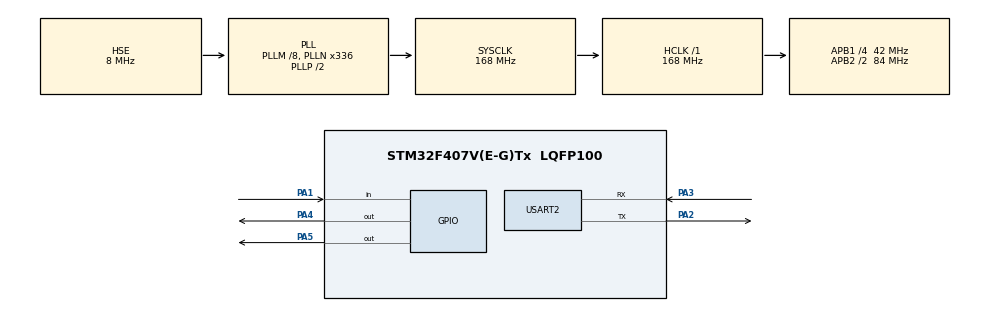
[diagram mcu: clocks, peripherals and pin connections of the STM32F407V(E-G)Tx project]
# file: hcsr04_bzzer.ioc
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Mcu.Family=STM32F4
Mcu.Name=STM32F407V(E-G)Tx
Mcu.Package=LQFP100
NVIC.PriorityGroup=NVIC_PRIORITYGROUP_0
PA1.Signal=GPIO_Input
PA13.Mode=Serial_Wire
PA13.Signal=SYS_JTMS-SWDIO
PA14.Mode=Serial_Wire
PA14.Signal=SYS_JTCK-SWCLK
PA2.Mode=Asynchronous
PA2.Signal=USART2_TX
PA3.Mode=Asynchronous
PA3.Signal=USART2_RX
PA4.Signal=GPIO_Output
PA5.Signal=GPIO_Output
PH0-OSC_IN.Mode=HSE-External-Oscillator
PH0-OSC_IN.Signal=RCC_OSC_IN
PH1-OSC_OUT.Mode=HSE-External-Oscillator
PH1-OSC_OUT.Signal=RCC_OSC_OUT
ProjectManager.HeapSize=0x200
ProjectManager.StackSize=0x400
ProjectManager.TargetToolchain=STM32CubeIDE
RCC.48MHZClocksFreq_Value=48000000
RCC.AHBFreq_Value=168000000
RCC.APB1CLKDivider=RCC_HCLK_DIV4
RCC.APB1Freq_Value=42000000
RCC.APB1TimFreq_Value=84000000
RCC.APB2CLKDivider=RCC_HCLK_DIV2
RCC.APB2Freq_Value=84000000
RCC.APB2TimFreq_Value=168000000
RCC.CortexFreq_Value=168000000
RCC.HCLKFreq_Value=168000000
RCC.HSE_VALUE=8000000
RCC.HSI_VALUE=16000000
RCC.LSE_VALUE=32768
RCC.PLLM=8
RCC.PLLN=336
RCC.PLLQ=7
RCC.PLLSourceVirtual=RCC_PLLSOURCE_HSE
RCC.SYSCLKFreq_VALUE=168000000
RCC.SYSCLKSource=RCC_SYSCLKSOURCE_PLLCLK
RCC.VCOOutputFreq_Value=336000000
USART2.VirtualMode=VM_ASYNC
board=STM32F407G-DISC1

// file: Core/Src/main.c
/* USER CODE BEGIN Header */
/**
  ******************************************************************************
  * @file           : main.c
  * @brief          : Main program body
  ******************************************************************************
  * @attention
  *
  * Copyright (c) 2023 STMicroelectronics.
  * All rights reserved.
  *
  * This software is licensed under terms that can be found in the LICENSE file
  * in the root directory of this software component.
  * If no LICENSE file comes with this software, it is provided AS-IS.
  *
  ******************************************************************************
  */
/* USER CODE END Header */
#include "main.h"
#include "stdio.h"

UART_HandleTypeDef huart2;

/* USER CODE BEGIN PV */
uint16_t distance=0;
char yazi[30];
char uyari[40]=" Alarm ötüyor hedefe çok yaklaştın";
char uyari2[30]="susturmak icin 0 a bas\n";
char uyari3[30]="GERİYE DOĞRU GİTMELİSİN\n";
char uyari4[30]="UYGUN PARK MESAFESİ\n";
char uyari5[30]="HATALI PARK MESAFESİ!!\n";
char receivedata[1];

/* USER CODE END PV */

void SystemClock_Config(void);
static void MX_GPIO_Init(void);
static void MX_USART2_UART_Init(void);

/* USER CODE BEGIN 0 */
void delayUS(uint32_t time){
	uint32_t newtime=time*168;
	while(newtime--);
}
float hcsrRead(){
	uint32_t time=0;
	float tempDistance=0;
	HAL_GPIO_WritePin(GPIOA, GPIO_PIN_5,GPIO_PIN_RESET);
	delayUS(10);
	HAL_GPIO_WritePin(GPIOA, GPIO_PIN_5,GPIO_PIN_SET);
	delayUS(10);
	HAL_GPIO_WritePin(GPIOA, GPIO_PIN_5,GPIO_PIN_RESET);
	delayUS(10);
	while(!(HAL_GPIO_ReadPin(GPIOA, GPIO_PIN_1)));
	while(HAL_GPIO_ReadPin(GPIOA, GPIO_PIN_1)){

		time++;
		delayUS(1);
	}
	tempDistance=(float) time/58 ;
	//tempDistance=tempDistance*4;
	if(tempDistance>400)tempDistance=400;
	//if(tempDistance<2)tempDistance=2;
	return tempDistance;

}

/* USER CODE END 0 */

int main(void)
{

  /* MCU Configuration--------------------------------------------------------*/

  /* Reset of all peripherals, Initializes the Flash interface and the Systick. */
  HAL_Init();

  /* Configure the system clock */
  SystemClock_Config();

  /* Initialize all configured peripherals */
  MX_GPIO_Init();
  MX_USART2_UART_Init();

  /* Infinite loop */
  while (1)
  {

    /* USER CODE BEGIN 3 */
	  distance=(uint16_t)hcsrRead();
	  sprintf(yazi,"Olculen mesafe degeri: %d \n",distance);
	  HAL_UART_Transmit(&huart2, (uint8_t*)yazi,sizeof(yazi),100);
	  //HAL_GPIO_WritePin(GPIOA, GPIO_PIN_4, GPIO_PIN_RESET);
      HAL_Delay(600);

	  if(distance>7 && distance<=15){
		  HAL_UART_Transmit(&huart2, (uint8_t*)uyari,sizeof(uyari),100);
		  HAL_UART_Transmit(&huart2, (uint8_t*)uyari2,sizeof(uyari2),100);
		  HAL_UART_Transmit(&huart2, (uint8_t*)uyari3,sizeof(uyari3),100);

		  HAL_GPIO_WritePin(GPIOA, GPIO_PIN_4, GPIO_PIN_SET);
		  HAL_Delay(900);
		  HAL_UART_Receive(&huart2,(uint8_t*)&receivedata[0],sizeof(receivedata),100);
		  if(receivedata[0]=='0'){
			  HAL_GPIO_WritePin(GPIOA, GPIO_PIN_4, GPIO_PIN_RESET);
		      HAL_Delay(6000);
			  receivedata[0]=1;

		  }
	  }
	  if(distance>=3 && distance<=7){
		  HAL_UART_Transmit(&huart2, (uint8_t*)uyari,sizeof(uyari),100);
		  HAL_UART_Transmit(&huart2, (uint8_t*)uyari2,sizeof(uyari2),100);
		  HAL_UART_Transmit(&huart2, (uint8_t*)uyari4,sizeof(uyari4),100);

		  HAL_GPIO_WritePin(GPIOA, GPIO_PIN_4, GPIO_PIN_SET);
		  HAL_Delay(300);
		  HAL_UART_Receive(&huart2,(uint8_t*)&receivedata[0],sizeof(receivedata),100);
		  if(receivedata[0]=='0'){
			  HAL_GPIO_WritePin(GPIOA, GPIO_PIN_4, GPIO_PIN_RESET);
		      HAL_Delay(6000);
			  receivedata[0]=1;

		  }
	  }
	  if(distance<=2){
		  HAL_UART_Transmit(&huart2, (uint8_t*)uyari,sizeof(uyari),100);
		  HAL_UART_Transmit(&huart2, (uint8_t*)uyari2,sizeof(uyari2),100);
		  HAL_UART_Transmit(&huart2, (uint8_t*)uyari5,sizeof(uyari5),100);

		  HAL_GPIO_WritePin(GPIOA, GPIO_PIN_4, GPIO_PIN_SET);
		  //HAL_Delay(1);
		  HAL_UART_Receive(&huart2,(uint8_t*)&receivedata[0],sizeof(receivedata),100);
		  if(receivedata[0]=='0'){
			  HAL_GPIO_WritePin(GPIOA, GPIO_PIN_4, GPIO_PIN_RESET);
		      HAL_Delay(6000);
			  receivedata[0]=1;

		  }
	  }

	  else{
		  HAL_GPIO_WritePin(GPIOA, GPIO_PIN_4, GPIO_PIN_RESET);
	  }

  }
  /* USER CODE END 3 */
}

void SystemClock_Config(void)
{
  RCC_OscInitTypeDef RCC_OscInitStruct = {0};
  RCC_ClkInitTypeDef RCC_ClkInitStruct = {0};

  /** Configure the main internal regulator output voltage
  */
  __HAL_RCC_PWR_CLK_ENABLE();
  __HAL_PWR_VOLTAGESCALING_CONFIG(PWR_REGULATOR_VOLTAGE_SCALE1);

  /** Initializes the RCC Oscillators according to the specified parameters
  * in the RCC_OscInitTypeDef structure.
  */
  RCC_OscInitStruct.OscillatorType = RCC_OSCILLATORTYPE_HSE;
  RCC_OscInitStruct.HSEState = RCC_HSE_ON;
  RCC_OscInitStruct.PLL.PLLState = RCC_PLL_ON;
  RCC_OscInitStruct.PLL.PLLSource = RCC_PLLSOURCE_HSE;
  RCC_OscInitStruct.PLL.PLLM = 8;
  RCC_OscInitStruct.PLL.PLLN = 336;
  RCC_OscInitStruct.PLL.PLLP = RCC_PLLP_DIV2;
  RCC_OscInitStruct.PLL.PLLQ = 7;
  if (HAL_RCC_OscConfig(&RCC_OscInitStruct) != HAL_OK)
  {
    Error_Handler();
  }

  /** Initializes the CPU, AHB and APB buses clocks
  */
  RCC_ClkInitStruct.ClockType = RCC_CLOCKTYPE_HCLK|RCC_CLOCKTYPE_SYSCLK
                              |RCC_CLOCKTYPE_PCLK1|RCC_CLOCKTYPE_PCLK2;
  RCC_ClkInitStruct.SYSCLKSource = RCC_SYSCLKSOURCE_PLLCLK;
  RCC_ClkInitStruct.AHBCLKDivider = RCC_SYSCLK_DIV1;
  RCC_ClkInitStruct.APB1CLKDivider = RCC_HCLK_DIV4;
  RCC_ClkInitStruct.APB2CLKDivider = RCC_HCLK_DIV2;

  if (HAL_RCC_ClockConfig(&RCC_ClkInitStruct, FLASH_LATENCY_5) != HAL_OK)
  {
    Error_Handler();
  }
}

static void MX_USART2_UART_Init(void)
{

  huart2.Instance = USART2;
  huart2.Init.BaudRate = 115200;
  huart2.Init.WordLength = UART_WORDLENGTH_8B;
  huart2.Init.StopBits = UART_STOPBITS_1;
  huart2.Init.Parity = UART_PARITY_NONE;
  huart2.Init.Mode = UART_MODE_TX_RX;
  huart2.Init.HwFlowCtl = UART_HWCONTROL_NONE;
  huart2.Init.OverSampling = UART_OVERSAMPLING_16;
  if (HAL_UART_Init(&huart2) != HAL_OK)
  {
    Error_Handler();
  }

}

static void MX_GPIO_Init(void)
{
  GPIO_InitTypeDef GPIO_InitStruct = {0};

  /* GPIO Ports Clock Enable */
  __HAL_RCC_GPIOH_CLK_ENABLE();
  __HAL_RCC_GPIOA_CLK_ENABLE();

  /*Configure GPIO pin Output Level */
  HAL_GPIO_WritePin(GPIOA, GPIO_PIN_4|GPIO_PIN_5, GPIO_PIN_RESET);

  /*Configure GPIO pin : PA1 */
  GPIO_InitStruct.Pin = GPIO_PIN_1;
  GPIO_InitStruct.Mode = GPIO_MODE_INPUT;
  GPIO_InitStruct.Pull = GPIO_NOPULL;
  HAL_GPIO_Init(GPIOA, &GPIO_InitStruct);

  /*Configure GPIO pins : PA4 PA5 */
  GPIO_InitStruct.Pin = GPIO_PIN_4|GPIO_PIN_5;
  GPIO_InitStruct.Mode = GPIO_MODE_OUTPUT_PP;
  GPIO_InitStruct.Pull = GPIO_NOPULL;
  GPIO_InitStruct.Speed = GPIO_SPEED_FREQ_LOW;
  HAL_GPIO_Init(GPIOA, &GPIO_InitStruct);

}

void Error_Handler(void)
{
  __disable_irq();
  while (1)
  {
  }
}
